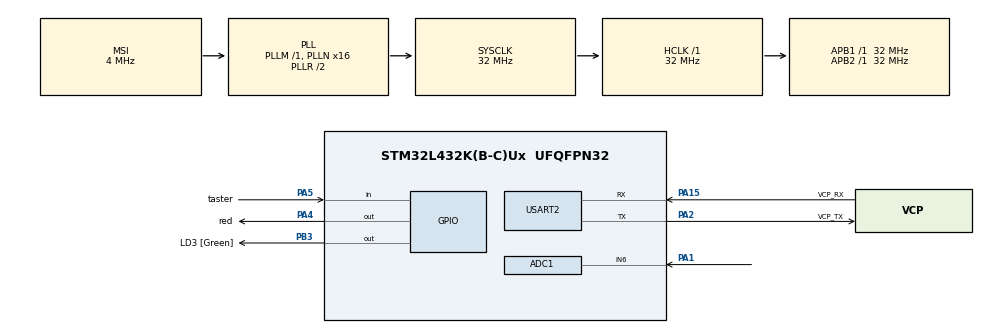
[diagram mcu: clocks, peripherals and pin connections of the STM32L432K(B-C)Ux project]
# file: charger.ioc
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ADC1.Channel-0\#ChannelRegularConversion=ADC_CHANNEL_6
ADC1.NbrOfConversionFlag=1
ADC1.OffsetNumber-0\#ChannelRegularConversion=ADC_OFFSET_NONE
ADC1.Rank-0\#ChannelRegularConversion=1
ADC1.SamplingTime-0\#ChannelRegularConversion=ADC_SAMPLETIME_2CYCLES_5
ADC1.master=1
Mcu.Family=STM32L4
Mcu.Name=STM32L432K(B-C)Ux
Mcu.Package=UFQFPN32
NVIC.PriorityGroup=NVIC_PRIORITYGROUP_4
PA0.GPIO_Label=MCO [High speed clock in]
PA0.Mode=HSE-External-Clock-Source-for-LittleOrca
PA0.Signal=RCC_CK_IN
PA1.Signal=ADCx_IN6
PA13\ (JTMS-SWDIO).GPIO_Label=SWDIO
PA13\ (JTMS-SWDIO).Mode=Serial_Wire
PA13\ (JTMS-SWDIO).Signal=SYS_JTMS-SWDIO
PA14\ (JTCK-SWCLK).GPIO_Label=SWCLK
PA14\ (JTCK-SWCLK).Mode=Serial_Wire
PA14\ (JTCK-SWCLK).Signal=SYS_JTCK-SWCLK
PA15\ (JTDI).GPIO_Label=VCP_RX
PA15\ (JTDI).Mode=Asynchronous
PA15\ (JTDI).Signal=USART2_RX
PA2.GPIO_Label=VCP_TX
PA2.Mode=Asynchronous
PA2.Signal=USART2_TX
PA4.GPIO_Label=red
PA4.Signal=GPIO_Output
PA5.GPIO_Label=taster
PA5.Signal=GPIO_Input
PB3\ (JTDO-TRACESWO).GPIO_Label=LD3 [Green]
PB3\ (JTDO-TRACESWO).Signal=GPIO_Output
PC14-OSC32_IN\ (PC14).Mode=LSE-External-Oscillator
PC14-OSC32_IN\ (PC14).Signal=RCC_OSC32_IN
PC15-OSC32_OUT\ (PC15).Mode=LSE-External-Oscillator
PC15-OSC32_OUT\ (PC15).Signal=RCC_OSC32_OUT
ProjectManager.HeapSize=0x200
ProjectManager.StackSize=0x400
ProjectManager.TargetToolchain=Makefile
RCC.ADCFreq_Value=32000000
RCC.AHBFreq_Value=32000000
RCC.APB1Freq_Value=32000000
RCC.APB1TimFreq_Value=32000000
RCC.APB2Freq_Value=32000000
RCC.APB2TimFreq_Value=32000000
RCC.CortexFreq_Value=32000000
RCC.HCLKFreq_Value=32000000
RCC.HSE_VALUE=8000000
RCC.HSI16_VALUE=16000000
RCC.HSI48_VALUE=48000000
RCC.HSI_VALUE=16000000
RCC.MSI_VALUE=4000000
RCC.PLLMUL=RCC_PLLMUL_4
RCC.PLLN=16
RCC.PLLSAI1N=16
RCC.SYSCLKFreq_VALUE=32000000
RCC.SYSCLKSource=RCC_SYSCLKSOURCE_PLLCLK
RCC.USBFreq_Value=32000000
RCC.VCOOutputFreq_Value=64000000
SH.ADCx_IN6.0=ADC1_IN6,IN6-Single-Ended
USART2.VirtualMode-Asynchronous=VM_ASYNC
board=NUCLEO-L432KC

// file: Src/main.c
/* USER CODE BEGIN Header */
/**
  ******************************************************************************
  * @file           : main.c
  * @brief          : Main program body
  ******************************************************************************
  * @attention
  *
  * <h2><center>&copy; Copyright (c) 2021 STMicroelectronics.
  * All rights reserved.</center></h2>
  *
  * This software component is licensed by ST under BSD 3-Clause license,
  * the "License"; You may not use this file except in compliance with the
  * License. You may obtain a copy of the License at:
  *                        opensource.org/licenses/BSD-3-Clause
  *
  ******************************************************************************
  */
/* USER CODE END Header */
#include "main.h"

/* USER CODE BEGIN Includes */

#include <stdio.h>
#include <string.h>

/* USER CODE END Includes */

/* USER CODE BEGIN PTD */
enum mode
{
  CHARGE,
  DISCHARGE,
};
/* USER CODE END PTD */

ADC_HandleTypeDef hadc1;

UART_HandleTypeDef huart2;

/* USER CODE BEGIN PV */
enum mode current_op_mode = DISCHARGE;
const size_t chg_threshold = 3686;    // ~90%

/* USER CODE END PV */

void SystemClock_Config(void);
static void MX_GPIO_Init(void);
static void MX_USART2_UART_Init(void);
static void MX_ADC1_Init(void);
/* USER CODE BEGIN PFP */

void send_adc_over_usart(void);
void button_trigger(void);
uint32_t adc_get_val(void);

/* USER CODE END PFP */

int main(void)
{

  /* MCU Configuration--------------------------------------------------------*/

  /* Reset of all peripherals, Initializes the Flash interface and the Systick. */
  HAL_Init();

  /* Configure the system clock */
  SystemClock_Config();

  /* Initialize all configured peripherals */
  MX_GPIO_Init();
  MX_USART2_UART_Init();
  MX_ADC1_Init();

  /* Infinite loop */
  /* USER CODE BEGIN WHILE */
  while (1)
  {
    button_trigger();
    send_adc_over_usart();
  }
  }

void SystemClock_Config(void)
{
  RCC_OscInitTypeDef RCC_OscInitStruct = {0};
  RCC_ClkInitTypeDef RCC_ClkInitStruct = {0};
  RCC_PeriphCLKInitTypeDef PeriphClkInit = {0};

  /** Configure LSE Drive Capability
  */
  HAL_PWR_EnableBkUpAccess();
  __HAL_RCC_LSEDRIVE_CONFIG(RCC_LSEDRIVE_LOW);
  /** Initializes the RCC Oscillators according to the specified parameters
  * in the RCC_OscInitTypeDef structure.
  */
  RCC_OscInitStruct.OscillatorType = RCC_OSCILLATORTYPE_LSE|RCC_OSCILLATORTYPE_MSI;
  RCC_OscInitStruct.LSEState = RCC_LSE_ON;
  RCC_OscInitStruct.MSIState = RCC_MSI_ON;
  RCC_OscInitStruct.MSICalibrationValue = 0;
  RCC_OscInitStruct.MSIClockRange = RCC_MSIRANGE_6;
  RCC_OscInitStruct.PLL.PLLState = RCC_PLL_ON;
  RCC_OscInitStruct.PLL.PLLSource = RCC_PLLSOURCE_MSI;
  RCC_OscInitStruct.PLL.PLLM = 1;
  RCC_OscInitStruct.PLL.PLLN = 16;
  RCC_OscInitStruct.PLL.PLLP = RCC_PLLP_DIV7;
  RCC_OscInitStruct.PLL.PLLQ = RCC_PLLQ_DIV2;
  RCC_OscInitStruct.PLL.PLLR = RCC_PLLR_DIV2;
  if (HAL_RCC_OscConfig(&RCC_OscInitStruct) != HAL_OK)
  {
    Error_Handler();
  }
  /** Initializes the CPU, AHB and APB buses clocks
  */
  RCC_ClkInitStruct.ClockType = RCC_CLOCKTYPE_HCLK|RCC_CLOCKTYPE_SYSCLK
                              |RCC_CLOCKTYPE_PCLK1|RCC_CLOCKTYPE_PCLK2;
  RCC_ClkInitStruct.SYSCLKSource = RCC_SYSCLKSOURCE_PLLCLK;
  RCC_ClkInitStruct.AHBCLKDivider = RCC_SYSCLK_DIV1;
  RCC_ClkInitStruct.APB1CLKDivider = RCC_HCLK_DIV1;
  RCC_ClkInitStruct.APB2CLKDivider = RCC_HCLK_DIV1;

  if (HAL_RCC_ClockConfig(&RCC_ClkInitStruct, FLASH_LATENCY_1) != HAL_OK)
  {
    Error_Handler();
  }
  PeriphClkInit.PeriphClockSelection = RCC_PERIPHCLK_USART2|RCC_PERIPHCLK_ADC;
  PeriphClkInit.Usart2ClockSelection = RCC_USART2CLKSOURCE_PCLK1;
  PeriphClkInit.AdcClockSelection = RCC_ADCCLKSOURCE_PLLSAI1;
  PeriphClkInit.PLLSAI1.PLLSAI1Source = RCC_PLLSOURCE_MSI;
  PeriphClkInit.PLLSAI1.PLLSAI1M = 1;
  PeriphClkInit.PLLSAI1.PLLSAI1N = 16;
  PeriphClkInit.PLLSAI1.PLLSAI1P = RCC_PLLP_DIV7;
  PeriphClkInit.PLLSAI1.PLLSAI1Q = RCC_PLLQ_DIV2;
  PeriphClkInit.PLLSAI1.PLLSAI1R = RCC_PLLR_DIV2;
  PeriphClkInit.PLLSAI1.PLLSAI1ClockOut = RCC_PLLSAI1_ADC1CLK;
  if (HAL_RCCEx_PeriphCLKConfig(&PeriphClkInit) != HAL_OK)
  {
    Error_Handler();
  }
  /** Configure the main internal regulator output voltage
  */
  if (HAL_PWREx_ControlVoltageScaling(PWR_REGULATOR_VOLTAGE_SCALE1) != HAL_OK)
  {
    Error_Handler();
  }
  /** Enable MSI Auto calibration
  */
  HAL_RCCEx_EnableMSIPLLMode();
}

static void MX_ADC1_Init(void)
{

  ADC_ChannelConfTypeDef sConfig = {0};

  /** Common config
  */
  hadc1.Instance = ADC1;
  hadc1.Init.ClockPrescaler = ADC_CLOCK_ASYNC_DIV1;
  hadc1.Init.Resolution = ADC_RESOLUTION_12B;
  hadc1.Init.DataAlign = ADC_DATAALIGN_RIGHT;
  hadc1.Init.ScanConvMode = ADC_SCAN_DISABLE;
  hadc1.Init.EOCSelection = ADC_EOC_SINGLE_CONV;
  hadc1.Init.LowPowerAutoWait = DISABLE;
  hadc1.Init.ContinuousConvMode = DISABLE;
  hadc1.Init.NbrOfConversion = 1;
  hadc1.Init.DiscontinuousConvMode = DISABLE;
  hadc1.Init.ExternalTrigConv = ADC_SOFTWARE_START;
  hadc1.Init.ExternalTrigConvEdge = ADC_EXTERNALTRIGCONVEDGE_NONE;
  hadc1.Init.DMAContinuousRequests = DISABLE;
  hadc1.Init.Overrun = ADC_OVR_DATA_PRESERVED;
  hadc1.Init.OversamplingMode = DISABLE;
  if (HAL_ADC_Init(&hadc1) != HAL_OK)
  {
    Error_Handler();
  }
  /** Configure Regular Channel
  */
  sConfig.Channel = ADC_CHANNEL_6;
  sConfig.Rank = ADC_REGULAR_RANK_1;
  sConfig.SamplingTime = ADC_SAMPLETIME_2CYCLES_5;
  sConfig.SingleDiff = ADC_SINGLE_ENDED;
  sConfig.OffsetNumber = ADC_OFFSET_NONE;
  sConfig.Offset = 0;
  if (HAL_ADC_ConfigChannel(&hadc1, &sConfig) != HAL_OK)
  {
    Error_Handler();
  }

}

static void MX_USART2_UART_Init(void)
{

  huart2.Instance = USART2;
  huart2.Init.BaudRate = 115200;
  huart2.Init.WordLength = UART_WORDLENGTH_8B;
  huart2.Init.StopBits = UART_STOPBITS_1;
  huart2.Init.Parity = UART_PARITY_NONE;
  huart2.Init.Mode = UART_MODE_TX_RX;
  huart2.Init.HwFlowCtl = UART_HWCONTROL_NONE;
  huart2.Init.OverSampling = UART_OVERSAMPLING_16;
  huart2.Init.OneBitSampling = UART_ONE_BIT_SAMPLE_DISABLE;
  huart2.AdvancedInit.AdvFeatureInit = UART_ADVFEATURE_NO_INIT;
  if (HAL_UART_Init(&huart2) != HAL_OK)
  {
    Error_Handler();
  }

}

static void MX_GPIO_Init(void)
{
  GPIO_InitTypeDef GPIO_InitStruct = {0};

  /* GPIO Ports Clock Enable */
  __HAL_RCC_GPIOC_CLK_ENABLE();
  __HAL_RCC_GPIOA_CLK_ENABLE();
  __HAL_RCC_GPIOB_CLK_ENABLE();

  /*Configure GPIO pin Output Level */
  HAL_GPIO_WritePin(red_GPIO_Port, red_Pin, GPIO_PIN_RESET);

  /*Configure GPIO pin Output Level */
  HAL_GPIO_WritePin(LD3_GPIO_Port, LD3_Pin, GPIO_PIN_RESET);

  /*Configure GPIO pin : red_Pin */
  GPIO_InitStruct.Pin = red_Pin;
  GPIO_InitStruct.Mode = GPIO_MODE_OUTPUT_PP;
  GPIO_InitStruct.Pull = GPIO_NOPULL;
  GPIO_InitStruct.Speed = GPIO_SPEED_FREQ_LOW;
  HAL_GPIO_Init(red_GPIO_Port, &GPIO_InitStruct);

  /*Configure GPIO pin : taster_Pin */
  GPIO_InitStruct.Pin = taster_Pin;
  GPIO_InitStruct.Mode = GPIO_MODE_INPUT;
  GPIO_InitStruct.Pull = GPIO_NOPULL;
  HAL_GPIO_Init(taster_GPIO_Port, &GPIO_InitStruct);

  /*Configure GPIO pin : LD3_Pin */
  GPIO_InitStruct.Pin = LD3_Pin;
  GPIO_InitStruct.Mode = GPIO_MODE_OUTPUT_PP;
  GPIO_InitStruct.Pull = GPIO_NOPULL;
  GPIO_InitStruct.Speed = GPIO_SPEED_FREQ_LOW;
  HAL_GPIO_Init(LD3_GPIO_Port, &GPIO_InitStruct);

}

/* USER CODE BEGIN 4 */

uint32_t adc_get_val(void)
{
  while (HAL_ADC_Start(&hadc1) != HAL_OK) {
  }
  while (HAL_ADC_PollForConversion(&hadc1, HAL_TIMEOUT) != HAL_OK) {
  }
  uint32_t val = HAL_ADC_GetValue(&hadc1);
  // LED indicator
  if (val >= chg_threshold)
    HAL_GPIO_WritePin(red_GPIO_Port, red_Pin, GPIO_PIN_SET);
  else
    HAL_GPIO_WritePin(red_GPIO_Port, red_Pin, GPIO_PIN_RESET);

  return val;
}

void send_adc_over_usart(void)
{
  char msg[64];

  uint32_t value_adc = 0;
  value_adc = HAL_ADC_GetValue(&hadc1); // get the adc value
  uint32_t current_time = HAL_GetTick() / HAL_GetTickFreq();
  snprintf(msg, sizeof(msg), "%u\t%04u\r\n", current_time, (int)value_adc);
  HAL_UART_Transmit(&huart2, msg, strlen(msg), HAL_MAX_DELAY);

}

void button_trigger(void)
{
  if (HAL_GPIO_ReadPin(taster_GPIO_Port,taster_Pin) == GPIO_PIN_SET)
  {
    switch (current_op_mode) {
      case CHARGE:
        current_op_mode = DISCHARGE;
        HAL_GPIO_WritePin(red_GPIO_Port, red_Pin, GPIO_PIN_RESET);
        break;
      case DISCHARGE:
        current_op_mode = CHARGE;
        HAL_GPIO_WritePin(red_GPIO_Port, red_Pin, GPIO_PIN_SET);
        break;
    }

    // custom delay

    uint32_t tickstart = HAL_GetTick();
    uint32_t wait = 500;

    /* Add a freq to guarantee minimum wait */
    if (wait < HAL_MAX_DELAY)
    {
      wait += (uint32_t)(uwTickFreq);
    }

    while((HAL_GetTick() - tickstart) < wait)
    {
      send_adc_over_usart();
    }
  }
}

/* USER CODE END 4 */

void Error_Handler(void)
{
  __disable_irq();
  while (1)
  {
  }
}

/************************ (C) COPYRIGHT STMicroelectronics *****END OF FILE****/
